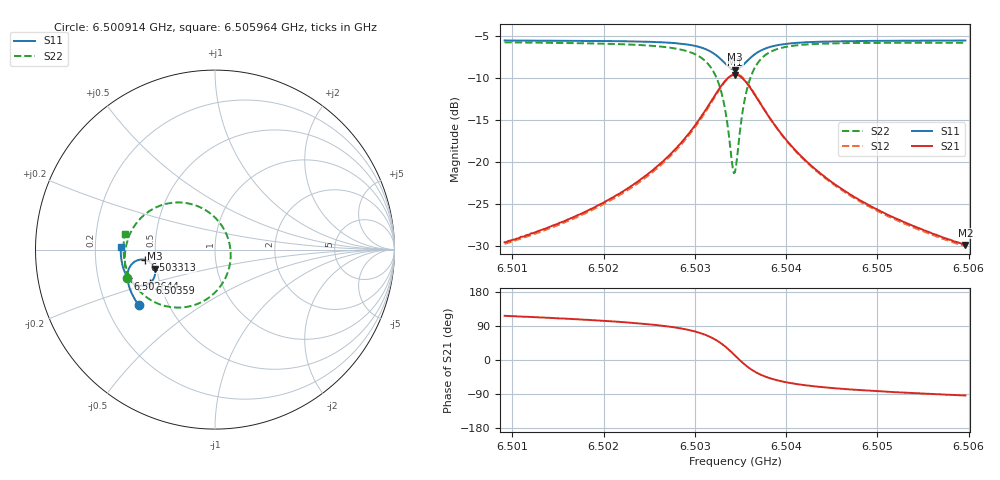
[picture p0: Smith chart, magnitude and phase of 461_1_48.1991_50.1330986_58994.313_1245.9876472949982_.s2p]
#  HZ  S  RI  R  50.00
! Rohde & Schwarz Vector Network Analyzer
! Rohde-Schwarz,ZNB20-2Port,1311601062101988,3.16
! Created: UTC 3/20/2024, 11:56:44 AM
! freq[Hz]  re:S11  im:S11  re:S21  im:S21  re:S12  im:S12  re:S22  im:S22
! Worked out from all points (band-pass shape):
!   401 points, 6.500914 GHz to 6.505964 GHz, reference 50 ohm
!   highest |S21| = -9.63 dB at 6.503439 GHz (marker M1); lowest = -29.8 dB at 6.505964 GHz (marker M2)
!   |S21| within 3 dB of the highest: 6.503187 GHz to 6.503692 GHz (504.9 kHz wide, 0.00776 % of centre)
!   lowest |S11| = -9.0 dB at 6.503439 GHz (marker M3), VSWR 2.09, Z = 24.3 - j5.9 ohm
!   |S11| at or under -10 dB: nowhere
!   |S22| runs from -21.3 to -5.8 dB; largest |S21 - S12| = 0.012
!   S11 on the Smith chart (normalised r, x): 6.500914 GHz: 0.34, -0.29; 6.502644 GHz: 0.33, -0.14; 6.503313 GHz: 0.44, -0.06; 6.50359 GHz: 0.44, -0.20; 6.505964 GHz: 0.31, +0.01
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6.5009141e9  -0.425 -0.3107  -0.015 0.0299  -0.0132 0.03  -0.4883 -0.1584
6.5017599e9  -0.4617 -0.2484  -0.0143 0.0474  -0.0118 0.0471  -0.5023 -0.0691
6.502227e9  -0.478 -0.2072  -0.0115 0.0669  -0.00839 0.0658  -0.4995 -0.00322
6.5026057e9  -0.4871 -0.1656  -0.00255 0.0961  0.00127 0.0939  -0.4803 0.0719
6.5026435e9  -0.4875 -0.1606  -0.000755 0.1003  0.00307 0.0979  -0.4767 0.0812
6.5029213e9  -0.4836 -0.1177  0.0258 0.1428  0.0296 0.1384  -0.4217 0.1671
6.5031106e9  -0.4624 -0.0797  0.0797 0.1848  0.0823 0.1787  -0.3184 0.2397
6.5032242e9  -0.4299 -0.0589  0.1487 0.2027  0.1497 0.1962  -0.1943 0.2626
6.5033126e9  -0.3894 -0.0571  0.2282 0.1868  0.2286 0.1815  -0.0571 0.2226
6.5033505e9  -0.37 -0.0647  0.2645 0.1637  0.2656 0.1589  0.00311 0.1758
6.5034136e9  -0.3431 -0.0914  0.3126 0.0997  0.3154 0.0946  0.0758 0.0529
6.5034388e9  -0.3368 -0.1061  0.323 0.0674  0.3262 0.0613  0.0868 -0.00747
6.5034641e9  -0.3338 -0.1218  0.3267 0.0336  0.3304 0.0265  0.085 -0.0689
6.5035272e9  -0.3408 -0.1593  0.3086 -0.0445  0.3109 -0.055  0.0296 -0.205
6.5035903e9  -0.3621 -0.1854  0.2656 -0.099  0.2646 -0.1106  -0.0672 -0.2884
6.5036913e9  -0.4018 -0.2008  0.1906 -0.1354  0.1852 -0.1451  -0.2179 -0.3228
6.5038554e9  -0.4482 -0.1913  0.1087 -0.1324  0.1014 -0.1375  -0.3657 -0.2763
6.5040322e9  -0.4756 -0.1697  0.0641 -0.1122  0.0576 -0.1145  -0.4378 -0.2113
6.5042846e9  -0.4963 -0.1398  0.034 -0.0878  0.0291 -0.0884  -0.4813 -0.1391
6.5046633e9  -0.5117 -0.1003  0.0151 -0.0645  0.0116 -0.0641  -0.5039 -0.0641
6.5051304e9  -0.5212 -0.0571  0.00511 -0.048  0.00281 -0.0473  -0.5101 0.00147
6.5059636e9  -0.5261 0.0134  -0.00205 -0.0322  -0.00342 -0.0315  -0.5021 0.0895
